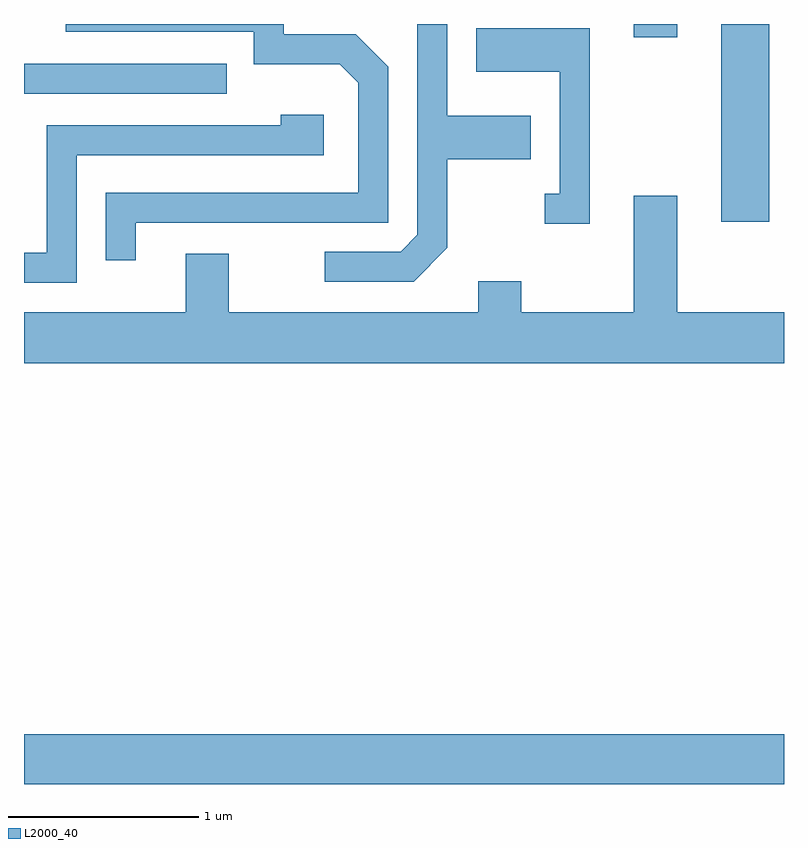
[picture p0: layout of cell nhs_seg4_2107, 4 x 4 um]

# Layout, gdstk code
import gdstk
lib = gdstk.Library(unit=1e-6, precision=1e-09)
def R(c, l, rs):  # rectangles x0, y0, x1, y1
    for r in rs: c.add(gdstk.rectangle(r[:2], r[2:], *l))
def P(c, l, *ps):  # polygons
    for p in ps: c.add(gdstk.Polygon(p, *l))
L2000_40 = (2000, 40)

nhs_seg4_2107 = lib.new_cell('nhs_seg4_2107')
R(nhs_seg4_2107, L2000_40, [(245.611,1387.982,249.611,1388.244), (249.281,1390.941,249.534,1391.982), (245.611,1391.616,246.678,1391.774), (248.821,1391.911,249.049,1391.982)])
P(nhs_seg4_2107, L2000_40, [(247.839,1390.804),(247.839,1391.271),(248.279,1391.271),(248.279,1391.499),(247.839,1391.499),(247.839,1391.982),(247.681,1391.982),(247.681,1390.872),(247.594,1390.784),(247.193,1390.784),(247.193,1390.626),(247.662,1390.626)],
  [(246.199,1390.936),(247.529,1390.936),(247.529,1391.757),(247.357,1391.929),(246.979,1391.929),(246.979,1391.982),(245.831,1391.982),(245.831,1391.941),(246.821,1391.941),(246.821,1391.771),(247.274,1391.771),(247.371,1391.674),(247.371,1391.094),(246.041,1391.094),(246.041,1390.738),(246.199,1390.738)],
  [(248.589,1391.959),(247.991,1391.959),(247.991,1391.731),(248.431,1391.731),(248.431,1391.089),(248.353,1391.089),(248.353,1390.931),(248.589,1390.931)],
  [(245.889,1391.291),(247.189,1391.291),(247.189,1391.504),(246.961,1391.504),(246.961,1391.449),(245.731,1391.449),(245.731,1390.779),(245.611,1390.779),(245.611,1390.621),(245.889,1390.621)],
  [(249.611,1390.464),(249.049,1390.464),(249.049,1391.079),(248.821,1391.079),(248.821,1390.464),(248.229,1390.464),(248.229,1390.629),(248.001,1390.629),(248.001,1390.464),(246.689,1390.464),(246.689,1390.774),(246.461,1390.774),(246.461,1390.464),(245.611,1390.464),(245.611,1390.196),(249.611,1390.196)])

lib.write_gds('nhs_seg4_2107.gds')
